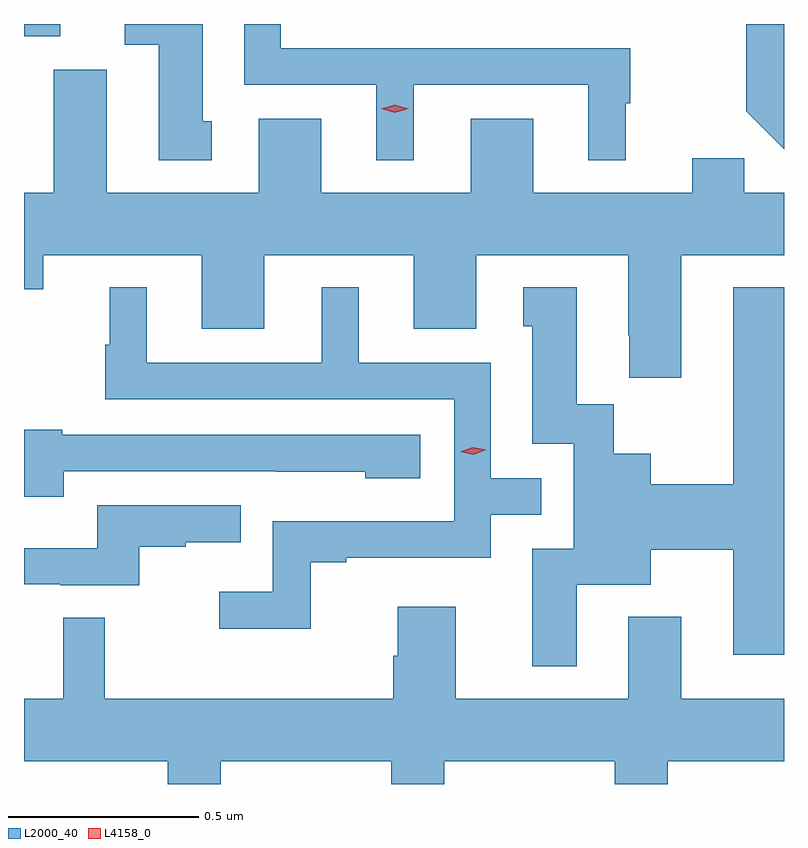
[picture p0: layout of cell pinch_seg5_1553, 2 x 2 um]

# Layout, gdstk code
import gdstk
lib = gdstk.Library(unit=1e-6, precision=1e-09)
def R(c, l, rs):  # rectangles x0, y0, x1, y1
    for r in rs: c.add(gdstk.rectangle(r[:2], r[2:], *l))
def P(c, l, *ps):  # polygons
    for p in ps: c.add(gdstk.Polygon(p, *l))
L2000_40 = (2000, 40)
L4158_0 = (4158, 0)

pinch_seg5_1553 = lib.new_cell('pinch_seg5_1553')
R(pinch_seg5_1553, L2000_40, [(204.479,848.012,204.574,848.044)])
P(pinch_seg5_1553, L2000_40, [(205.504,847.884),(205.964,847.884),(205.964,847.685),(206.062,847.685),(206.062,847.836),(206.074,847.836),(206.074,847.98),(205.155,847.98),(205.155,848.044),(205.059,848.044),(205.059,847.884),(205.406,847.884),(205.406,847.685),(205.504,847.685)],
  [(204.973,847.788),(204.949,847.788),(204.949,848.044),(204.744,848.044),(204.744,847.989),(204.833,847.989),(204.833,847.686),(204.973,847.686)],
  [(206.479,848.044),(206.379,848.044),(206.379,847.815),(206.479,847.715)],
  [(206.209,847.436),(206.479,847.436),(206.479,847.6),(206.375,847.6),(206.375,847.691),(206.237,847.691),(206.237,847.6),(205.819,847.6),(205.819,847.795),(205.655,847.795),(205.655,847.6),(205.261,847.6),(205.261,847.795),(205.097,847.795),(205.097,847.6),(204.697,847.6),(204.697,847.924),(204.557,847.924),(204.557,847.6),(204.479,847.6),(204.479,847.346),(204.529,847.346),(204.529,847.436),(204.947,847.436),(204.947,847.242),(205.111,847.242),(205.111,847.436),(205.505,847.436),(205.505,847.242),(205.669,847.242),(205.669,847.436),(206.069,847.436),(206.069,847.225),(206.072,847.225),(206.072,847.113),(206.209,847.113)],
  [(205.233,846.627),(205.327,846.627),(205.327,846.639),(205.707,846.639),(205.707,846.753),(205.84,846.753),(205.84,846.849),(205.707,846.849),(205.707,847.152),(205.36,847.152),(205.36,847.351),(205.262,847.351),(205.262,847.152),(204.802,847.152),(204.802,847.351),(204.704,847.351),(204.704,847.2),(204.693,847.2),(204.693,847.056),(205.611,847.056),(205.611,846.735),(205.134,846.735),(205.134,846.55),(204.993,846.55),(204.993,846.452),(205.233,846.452)],
  [(205.933,846.569),(206.128,846.569),(206.128,846.661),(206.345,846.661),(206.345,846.384),(206.479,846.384),(206.479,847.351),(206.345,847.351),(206.345,846.833),(206.128,846.833),(206.128,846.913),(206.031,846.913),(206.031,847.043),(205.933,847.043),(205.933,847.351),(205.793,847.351),(205.793,847.248),(205.817,847.248),(205.817,846.939),(205.926,846.939),(205.926,846.663),(205.817,846.663),(205.817,846.354),(205.933,846.354)],
  [(204.583,846.867),(205.141,846.867),(205.141,846.866),(205.377,846.866),(205.377,846.848),(205.522,846.848),(205.522,846.963),(204.579,846.963),(204.579,846.976),(204.479,846.976),(204.479,846.8),(204.583,846.8)],
  [(204.782,846.669),(204.905,846.669),(204.905,846.68),(205.049,846.68),(205.049,846.777),(204.672,846.777),(204.672,846.665),(204.479,846.665),(204.479,846.57),(204.574,846.57),(204.574,846.567),(204.782,846.567)],
  [(204.997,846.104),(205.445,846.104),(205.445,846.044),(205.585,846.044),(205.585,846.104),(206.033,846.104),(206.033,846.044),(206.173,846.044),(206.173,846.104),(206.479,846.104),(206.479,846.268),(206.209,846.268),(206.209,846.484),(206.069,846.484),(206.069,846.268),(205.615,846.268),(205.615,846.511),(205.463,846.511),(205.463,846.381),(205.451,846.381),(205.451,846.268),(204.691,846.268),(204.691,846.482),(204.582,846.482),(204.582,846.268),(204.479,846.268),(204.479,846.104),(204.857,846.104),(204.857,846.044),(204.997,846.044)])
P(pinch_seg5_1553, L4158_0, [(205.455,847.811),(205.419,847.821),(205.419,847.821),(205.419,847.821),(205.455,847.831),(205.491,847.821),(205.491,847.821),(205.491,847.821)],
  [(205.662,846.91),(205.627,846.918),(205.626,846.918),(205.627,846.918),(205.66,846.93),(205.695,846.923),(205.696,846.923),(205.695,846.923)])

lib.write_gds('pinch_seg5_1553.gds')
